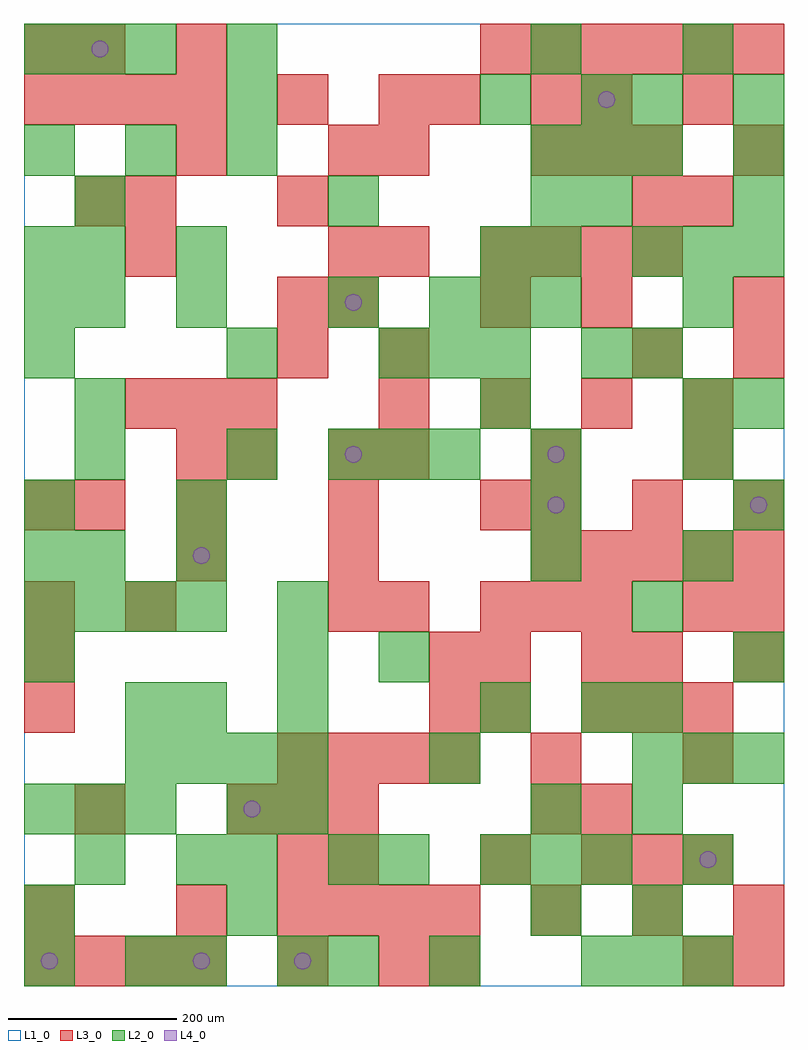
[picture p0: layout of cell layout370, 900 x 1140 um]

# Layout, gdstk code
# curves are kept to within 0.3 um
import gdstk
lib = gdstk.Library(unit=1e-6, precision=1e-09)
def R(c, l, rs):  # rectangles x0, y0, x1, y1
    for r in rs: c.add(gdstk.rectangle(r[:2], r[2:], *l))
def A(c, l, x, y, w, h, nx, ny, dx, dy):  # array of equal rectangles
    R(c, l, [(x+i*dx, y+j*dy, x+i*dx+w, y+j*dy+h) for i in range(nx) for j in range(ny)])
def P(c, l, *ps):  # polygons
    for p in ps: c.add(gdstk.Polygon(p, *l))
L1_0 = (1, 0)
L2_0 = (2, 0)
L3_0 = (3, 0)
L4_0 = (4, 0)

layout370 = lib.new_cell('layout370')
R(layout370, L1_0, [(0,0,900,1140)])
A(layout370, L2_0, 660, 0, 60, 60, 3, 1, 60, 0)
A(layout370, L2_0, 240, 60, 60, 60, 1, 3, 0, 60)
A(layout370, L2_0, 720, 60, 60, 60, 1, 4, 0, 120)
A(layout370, L2_0, 180, 120, 60, 60, 1, 3, 0, 180)
A(layout370, L2_0, 540, 120, 60, 60, 3, 1, 60, 0)
A(layout370, L2_0, 0, 180, 60, 60, 3, 2, 60, 900)
A(layout370, L2_0, 120, 240, 60, 60, 4, 1, 60, 0)
A(layout370, L2_0, 720, 240, 60, 60, 3, 2, 60, 600)
A(layout370, L2_0, 300, 300, 60, 60, 1, 3, 0, 60)
A(layout370, L2_0, 0, 420, 60, 60, 4, 1, 60, 0)
A(layout370, L2_0, 600, 480, 60, 60, 1, 3, 0, 60)
A(layout370, L2_0, 360, 600, 60, 60, 3, 1, 60, 0)
A(layout370, L2_0, 540, 660, 60, 60, 1, 3, 0, 180)
A(layout370, L2_0, 0, 720, 60, 60, 1, 3, 0, 60)
A(layout370, L2_0, 420, 720, 60, 60, 3, 1, 60, 0)
A(layout370, L2_0, 60, 780, 60, 60, 1, 3, 0, 60)
A(layout370, L2_0, 480, 780, 60, 60, 3, 1, 60, 0)
A(layout370, L2_0, 840, 900, 60, 60, 1, 3, 0, 60)
A(layout370, L2_0, 0, 960, 60, 60, 3, 1, 120, 0)
A(layout370, L2_0, 600, 960, 60, 60, 3, 1, 60, 0)
R(layout370, L2_0, [(0,0,60,60), (120,0,180,60), (180,0,240,60), (300,0,360,60), (360,0,420,60), (480,0,540,60), (0,60,60,120), (600,60,660,120), (60,120,120,180), (360,120,420,180), (420,120,480,180), (780,120,840,180), (300,180,360,240), (600,180,660,240), (480,240,540,300), (120,300,180,360), (540,300,600,360), (660,300,720,360), (0,360,60,420), (420,360,480,420), (840,360,900,420), (0,480,60,540), (60,480,120,540), (780,480,840,540), (0,540,60,600), (180,540,240,600), (840,540,900,600), (60,600,120,660), (240,600,300,660), (780,600,840,660), (60,660,120,720), (780,660,840,720), (840,660,900,720), (240,720,300,780), (660,720,720,780), (720,720,780,780), (180,780,240,840), (360,780,420,840), (780,780,840,840), (180,840,240,900), (600,840,660,900), (360,900,420,960), (600,900,660,960), (660,900,720,960), (240,1020,300,1080), (660,1020,720,1080), (720,1020,780,1080), (240,1080,300,1140), (600,1080,660,1140), (780,1080,840,1140)])
A(layout370, L3_0, 0, 0, 60, 60, 4, 2, 60, 1020)
A(layout370, L3_0, 300, 60, 60, 60, 4, 2, 60, 180)
A(layout370, L3_0, 600, 60, 60, 60, 3, 2, 120, 480)
A(layout370, L3_0, 660, 120, 60, 60, 3, 2, 60, 180)
A(layout370, L3_0, 60, 180, 60, 60, 1, 3, 0, 360)
A(layout370, L3_0, 240, 180, 60, 60, 3, 1, 60, 0)
A(layout370, L3_0, 0, 300, 60, 60, 1, 3, 0, 60)
A(layout370, L3_0, 540, 420, 60, 60, 3, 1, 60, 0)
A(layout370, L3_0, 600, 480, 60, 60, 5, 1, 60, 0)
A(layout370, L3_0, 180, 540, 60, 60, 3, 1, 180, 0)
A(layout370, L3_0, 420, 600, 60, 60, 3, 1, 180, 0)
A(layout370, L3_0, 120, 660, 60, 60, 3, 1, 60, 0)
A(layout370, L3_0, 420, 660, 60, 60, 4, 1, 120, 0)
A(layout370, L3_0, 420, 720, 60, 60, 1, 3, 0, 120)
A(layout370, L3_0, 300, 780, 60, 60, 1, 3, 0, 120)
A(layout370, L3_0, 540, 840, 60, 60, 4, 1, 60, 0)
A(layout370, L3_0, 600, 960, 60, 60, 3, 1, 60, 0)
A(layout370, L3_0, 540, 1080, 60, 60, 6, 1, 60, 0)
R(layout370, L3_0, [(300,0,360,60), (420,0,480,60), (480,0,540,60), (780,0,840,60), (840,0,900,60), (0,60,60,120), (180,60,240,120), (300,120,360,180), (360,120,420,180), (540,120,600,180), (600,180,660,240), (660,180,720,240), (600,240,660,300), (780,240,840,300), (480,300,540,360), (540,300,600,360), (480,360,540,420), (540,360,600,420), (660,360,720,420), (720,360,780,420), (840,360,900,420), (120,420,180,480), (360,420,420,480), (420,420,480,480), (780,420,840,480), (840,420,900,480), (180,480,240,540), (360,480,420,540), (0,540,60,600), (180,600,240,660), (240,600,300,660), (360,600,420,660), (300,720,360,780), (720,720,780,780), (840,720,900,780), (360,780,420,840), (540,780,600,840), (660,780,720,840), (840,780,900,840), (120,840,180,900), (360,840,420,900), (120,900,180,960), (720,900,780,960), (780,900,840,960), (180,960,240,1020), (360,960,420,1020), (840,960,900,1020), (420,1020,480,1080), (480,1020,540,1080), (600,1020,660,1080), (660,1020,720,1080), (780,1020,840,1080), (0,1080,60,1140), (60,1080,120,1140), (180,1080,240,1140)])
P(layout370, L4_0, [(40,30),(39.239,33.827),(37.071,37.071),(33.827,39.239),(30,40),(26.173,39.239),(22.929,37.071),(20.761,33.827),(20,30),(20.761,26.173),(22.929,22.929),(26.173,20.761),(30,20),(33.827,20.761),(37.071,22.929),(39.239,26.173)],
  [(100,1110),(99.239,1113.827),(97.071,1117.071),(93.827,1119.239),(90,1120),(86.173,1119.239),(82.929,1117.071),(80.761,1113.827),(80,1110),(80.761,1106.173),(82.929,1102.929),(86.173,1100.761),(90,1100),(93.827,1100.761),(97.071,1102.929),(99.239,1106.173)],
  [(220,30),(219.239,33.827),(217.071,37.071),(213.827,39.239),(210,40),(206.173,39.239),(202.929,37.071),(200.761,33.827),(200,30),(200.761,26.173),(202.929,22.929),(206.173,20.761),(210,20),(213.827,20.761),(217.071,22.929),(219.239,26.173)],
  [(220,510),(219.239,513.827),(217.071,517.071),(213.827,519.239),(210,520),(206.173,519.239),(202.929,517.071),(200.761,513.827),(200,510),(200.761,506.173),(202.929,502.929),(206.173,500.761),(210,500),(213.827,500.761),(217.071,502.929),(219.239,506.173)],
  [(280,210),(279.239,213.827),(277.071,217.071),(273.827,219.239),(270,220),(266.173,219.239),(262.929,217.071),(260.761,213.827),(260,210),(260.761,206.173),(262.929,202.929),(266.173,200.761),(270,200),(273.827,200.761),(277.071,202.929),(279.239,206.173)],
  [(340,30),(339.239,33.827),(337.071,37.071),(333.827,39.239),(330,40),(326.173,39.239),(322.929,37.071),(320.761,33.827),(320,30),(320.761,26.173),(322.929,22.929),(326.173,20.761),(330,20),(333.827,20.761),(337.071,22.929),(339.239,26.173)],
  [(400,630),(399.239,633.827),(397.071,637.071),(393.827,639.239),(390,640),(386.173,639.239),(382.929,637.071),(380.761,633.827),(380,630),(380.761,626.173),(382.929,622.929),(386.173,620.761),(390,620),(393.827,620.761),(397.071,622.929),(399.239,626.173)],
  [(400,810),(399.239,813.827),(397.071,817.071),(393.827,819.239),(390,820),(386.173,819.239),(382.929,817.071),(380.761,813.827),(380,810),(380.761,806.173),(382.929,802.929),(386.173,800.761),(390,800),(393.827,800.761),(397.071,802.929),(399.239,806.173)],
  [(640,570),(639.239,573.827),(637.071,577.071),(633.827,579.239),(630,580),(626.173,579.239),(622.929,577.071),(620.761,573.827),(620,570),(620.761,566.173),(622.929,562.929),(626.173,560.761),(630,560),(633.827,560.761),(637.071,562.929),(639.239,566.173)],
  [(640,630),(639.239,633.827),(637.071,637.071),(633.827,639.239),(630,640),(626.173,639.239),(622.929,637.071),(620.761,633.827),(620,630),(620.761,626.173),(622.929,622.929),(626.173,620.761),(630,620),(633.827,620.761),(637.071,622.929),(639.239,626.173)],
  [(700,1050),(699.239,1053.827),(697.071,1057.071),(693.827,1059.239),(690,1060),(686.173,1059.239),(682.929,1057.071),(680.761,1053.827),(680,1050),(680.761,1046.173),(682.929,1042.929),(686.173,1040.761),(690,1040),(693.827,1040.761),(697.071,1042.929),(699.239,1046.173)],
  [(820,150),(819.239,153.827),(817.071,157.071),(813.827,159.239),(810,160),(806.173,159.239),(802.929,157.071),(800.761,153.827),(800,150),(800.761,146.173),(802.929,142.929),(806.173,140.761),(810,140),(813.827,140.761),(817.071,142.929),(819.239,146.173)],
  [(880,570),(879.239,573.827),(877.071,577.071),(873.827,579.239),(870,580),(866.173,579.239),(862.929,577.071),(860.761,573.827),(860,570),(860.761,566.173),(862.929,562.929),(866.173,560.761),(870,560),(873.827,560.761),(877.071,562.929),(879.239,566.173)])

lib.write_gds('layout370.gds')
